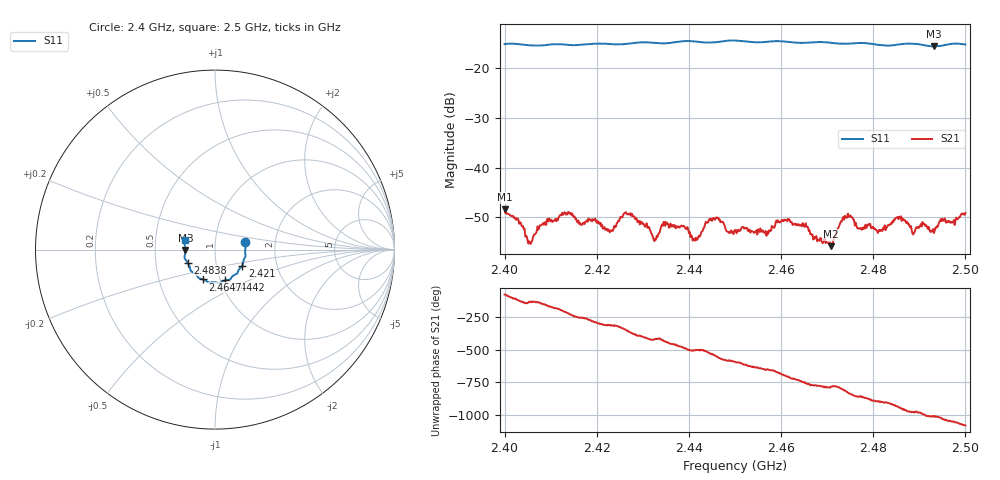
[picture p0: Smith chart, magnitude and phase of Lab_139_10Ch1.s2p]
# Hz S RI R 50
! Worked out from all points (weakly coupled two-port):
!   601 points, 2.4 GHz to 2.5 GHz, reference 50 ohm
!   highest |S21| = -48.39 dB at 2.4 GHz (marker M1); lowest = -55.8 dB at 2.4708 GHz (marker M2)
!   lowest |S11| = -15.7 dB at 2.4932 GHz (marker M3), VSWR 1.39, Z = 35.8 - j0.125 ohm
!   |S11| at or under -10 dB: start of sweep to end of sweep
!   S12 and S22 are empty: the file has one direction only
!   S11 on the Smith chart (normalised r, x): 2.4 GHz: 1.40, +0.12; 2.421 GHz: 1.33, -0.24; 2.4442 GHz: 1.05, -0.37; 2.4647 GHz: 0.83, -0.29; 2.4838 GHz: 0.73, -0.11; 2.5 GHz: 0.71, +0.08
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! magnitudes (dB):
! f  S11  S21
! 2.4 GHz  -15.2  -48.4
! 2.4032 GHz  -15.2  -51.3
! 2.4055 GHz  -15.4  -55.1
! 2.4125 GHz  -15.2  -49.1
! 2.4167 GHz  -15.3  -51.5
! 2.421 GHz  -15.1  -51.8
! 2.4232 GHz  -15.2  -52.8
! 2.4265 GHz  -15.1  -49.4
! 2.4333 GHz  -15.0  -53.4
! 2.435 GHz  -15.0  -50.9
! 2.4413 GHz  -14.7  -54.7
! 2.4442 GHz  -14.9  -51.0
! 2.45 GHz  -14.5  -52.6
! 2.4647 GHz  -14.9  -51.2
! 2.4667 GHz  -14.8  -53.5
! 2.4708 GHz  -14.9  -55.8
! 2.474 GHz  -15.1  -50.0
! 2.477 GHz  -15.0  -52.3
! 2.4833 GHz  -15.5  -51.5
! 2.4838 GHz  -15.5  -51.2
! 2.4932 GHz  -15.7  -53.2
! 2.5 GHz  -15.3  -49.1
